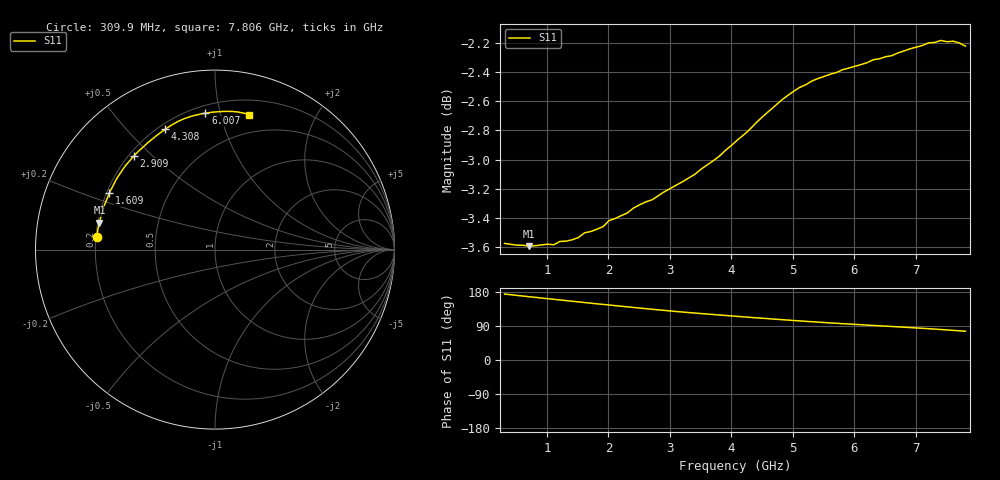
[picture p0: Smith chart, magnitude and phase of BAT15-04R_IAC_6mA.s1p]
! Infineon Technologies  Discrete & RF Semiconductors
! BAT15-04R
! IAC = 6 mA
! One-Port S-Parameters
# Hz  S  MA  R  50
!f  S11
!Hz  Mag  Ang
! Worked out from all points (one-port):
!   76 points, 309.9 MHz to 7.806 GHz, reference 50 ohm
!   lowest |S11| = -3.6 dB at 709.6 MHz (marker M1), VSWR 4.90, Z = 10.3 + j5.48 ohm
!   |S11| at or under -10 dB: nowhere
!   S11 on the Smith chart (normalised r, x): 309.9 MHz: 0.20, +0.05; 1.609 GHz: 0.21, +0.24; 2.909 GHz: 0.22, +0.44; 4.308 GHz: 0.23, +0.64; 6.007 GHz: 0.25, +0.90; 7.806 GHz: 0.33, +1.23
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3.0985e8  0.6627 174.1
7.0965e8  0.6613 166.9
1.0095e9  0.6623 161.9
1.30935e9  0.6639 156.7
1.6092e9  0.6682 151.7
1.8091e9  0.6701 148.3
1.90905e9  0.6715 146.8
2.009e9  0.6747 145.1
2.2089e9  0.6774 141.8
2.4088e9  0.6815 138.6
2.6087e9  0.6847 135.4
2.90855e9  0.6902 130.9
3.2084e9  0.6958 126.6
3.50825e9  0.7027 122.5
4.10795e9  0.7193 114.9
4.30785e9  0.7253 112.4
4.4078e9  0.7289 111.3
4.70765e9  0.7384 107.7
5.0075e9  0.7469 104.3
5.4073e9  0.7546 100.0
5.8071e9  0.7598 95.9
6.007e9  0.7618 94.0
6.30685e9  0.7658 91.2
6.90655e9  0.7724 85.6
7.2064e9  0.776 82.6
7.4063e9  0.7775 80.5
7.6062e9  0.777 78.2
7.8061e9  0.7741 75.9
